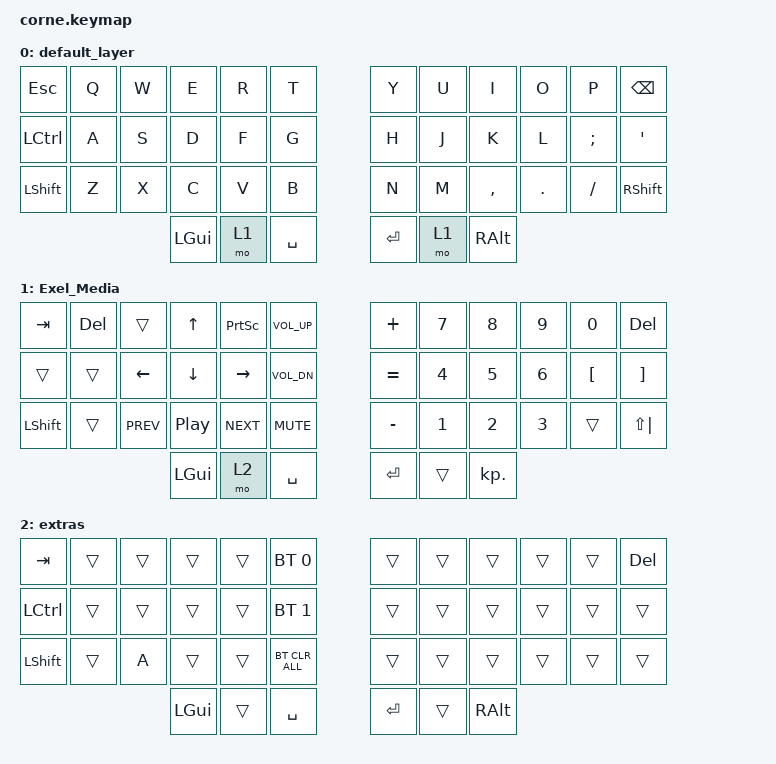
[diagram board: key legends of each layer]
/*
 * Copyright (c) 2020 The ZMK Contributors
 *
 * SPDX-License-Identifier: MIT
 */

#include <behaviors.dtsi>
#include <dt-bindings/zmk/bt.h>
#include <dt-bindings/zmk/keys.h>

/ {
    keymap {
        compatible = "zmk,keymap";

        default_layer {
            // -----------------------------------------------------------------------------------------
            // |  TAB |  Q  |  W  |  E  |  R  |  T  |   |  Y  |  U   |  I  |  O  |  P  | BKSP |
            // | CTRL |  A  |  S  |  D  |  F  |  G  |   |  H  |  J   |  K  |  L  |  ;  |  '   |
            // | SHFT |  Z  |  X  |  C  |  V  |  B  |   |  N  |  M   |  ,  |  .  |  /  | ESC  |
            //                    | GUI | LWR | SPC |   | ENT | RSE  | ALT |

            bindings = <
&kp ESC         &kp Q  &kp W  &kp E     &kp R  &kp T        &kp Y    &kp U  &kp I      &kp O    &kp P          &kp BSPC
&kp LCTRL       &kp A  &kp S  &kp D     &kp F  &kp G        &kp H    &kp J  &kp K      &kp L    &kp SEMICOLON  &kp SQT
&kp LEFT_SHIFT  &kp Z  &kp X  &kp C     &kp V  &kp B        &kp N    &kp M  &kp COMMA  &kp DOT  &kp FSLH       &kp RIGHT_SHIFT
                              &kp LGUI  &mo 1  &kp SPACE    &kp RET  &mo 1  &kp RALT
            >;
        };

        Exel_Media {
            // -----------------------------------------------------------------------------------------
            // |  TAB |  1  |  2  |  3  |  4  |  5  |   |  6  |  7  |  8  |  9  |  0  | BKSP |
            // | BTCLR| BT1 | BT2 | BT3 | BT4 | BT5 |   | LFT | DWN |  UP | RGT |     |      |
            // | SHFT |     |     |     |     |     |   |     |     |     |     |     |      |
            //                    | GUI |     | SPC |   | ENT |     | ALT |

            bindings = <
&kp TAB    &kp DEL  &trans      &kp UP            &kp PRINTSCREEN  &kp C_VOL_UP    &kp PLUS   &kp N7  &kp N8      &kp N9  &kp N0    &kp DELETE
&trans     &trans   &kp LEFT    &kp DOWN          &kp RIGHT        &kp C_VOL_DN    &kp EQUAL  &kp N4  &kp N5      &kp N6  &kp LBKT  &kp RBKT
&kp LSHFT  &trans   &kp K_PREV  &kp C_PLAY_PAUSE  &kp K_NEXT       &kp C_MUTE      &kp MINUS  &kp N1  &kp N2      &kp N3  &trans    &kp LS(PIPE)
                                &kp LGUI          &mo 2            &kp SPACE       &kp RET    &trans  &kp KP_DOT
            >;
        };

        extras {
            bindings = <
&kp TAB    &trans  &trans  &trans    &trans  &bt BT_SEL 0      &trans     &trans  &trans    &trans  &trans  &kp DELETE
&kp LCTRL  &trans  &trans  &trans    &trans  &bt BT_SEL 1      &trans     &trans  &trans    &trans  &trans  &trans
&kp LSHFT  &trans  &kp A   &trans    &trans  &bt BT_CLR_ALL    &trans     &trans  &trans    &trans  &trans  &trans
                           &kp LGUI  &trans  &kp SPACE         &kp ENTER  &trans  &kp RALT
            >;
        };
    };
};
